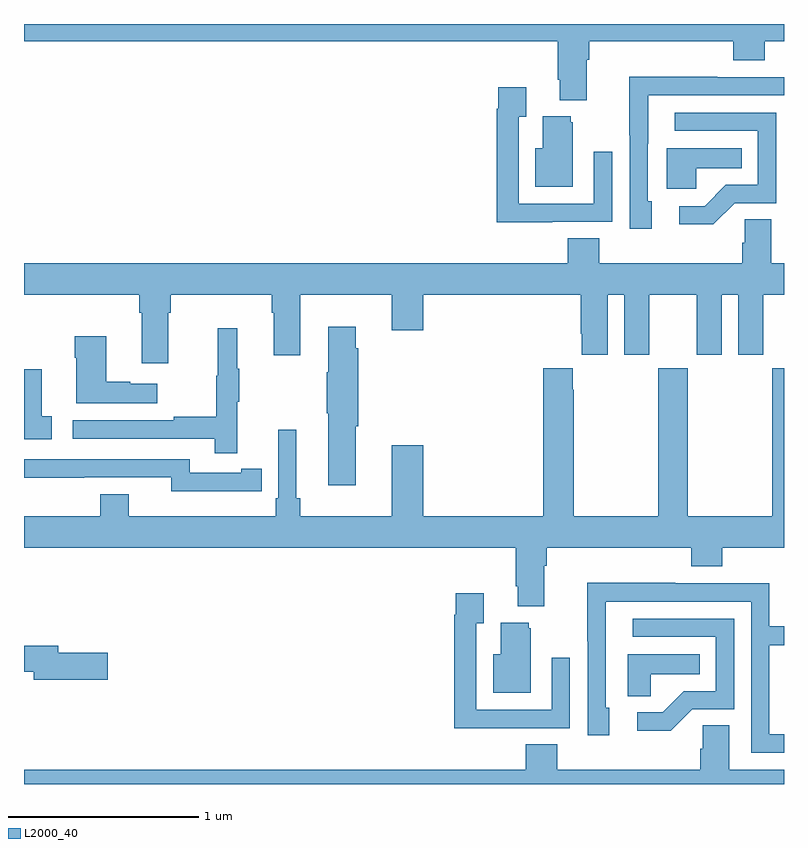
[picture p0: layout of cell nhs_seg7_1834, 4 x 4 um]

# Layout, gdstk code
import gdstk
lib = gdstk.Library(unit=1e-6, precision=1e-09)
def P(c, l, *ps):  # polygons
    for p in ps: c.add(gdstk.Polygon(p, *l))
L2000_40 = (2000, 40)

nhs_seg7_1834 = lib.new_cell('nhs_seg7_1834')
P(nhs_seg7_1834, L2000_40, [(237.961,1041.812),(237.974,1041.812),(237.974,1041.908),(238.733,1041.908),(238.733,1041.809),(238.898,1041.809),(238.898,1041.908),(239,1041.908),(239,1042),(235,1042),(235,1041.908),(237.809,1041.908),(237.809,1041.706),(237.821,1041.706),(237.821,1041.599),(237.961,1041.599)],
  [(238.303,1041.066),(238.284,1041.066),(238.284,1041.37),(238.285,1041.37),(238.285,1041.624),(239,1041.624),(239,1041.72),(238.649,1041.72),(238.649,1041.722),(238.186,1041.722),(238.186,1041.415),(238.188,1041.415),(238.188,1040.922),(238.303,1040.922)],
  [(237.779,1040.958),(238.095,1040.958),(238.095,1041.328),(237.999,1041.328),(237.999,1041.054),(237.603,1041.054),(237.603,1041.511),(237.643,1041.511),(237.643,1041.667),(237.495,1041.667),(237.495,1041.554),(237.487,1041.554),(237.487,1040.957),(237.779,1040.957)],
  [(238.74,1041.057),(238.959,1041.057),(238.959,1041.534),(238.425,1041.534),(238.425,1041.438),(238.863,1041.438),(238.863,1041.153),(238.694,1041.153),(238.583,1041.042),(238.449,1041.042),(238.449,1040.945),(238.627,1040.945)],
  [(237.889,1041.483),(237.878,1041.483),(237.878,1041.514),(237.731,1041.514),(237.731,1041.346),(237.692,1041.346),(237.692,1041.143),(237.889,1041.143)],
  [(238.539,1041.242),(238.778,1041.242),(238.778,1041.346),(238.382,1041.346),(238.382,1041.134),(238.539,1041.134)],
  [(235.759,1040.48),(235.772,1040.48),(235.772,1040.576),(236.303,1040.576),(236.303,1040.48),(236.315,1040.48),(236.315,1040.256),(236.455,1040.256),(236.455,1040.576),(236.936,1040.576),(236.936,1040.388),(237.1,1040.388),(237.1,1040.576),(237.929,1040.576),(237.929,1040.371),(237.935,1040.371),(237.935,1040.259),(238.072,1040.259),(238.072,1040.576),(238.16,1040.576),(238.16,1040.259),(238.291,1040.259),(238.291,1040.576),(238.541,1040.576),(238.541,1040.259),(238.672,1040.259),(238.672,1040.576),(238.76,1040.576),(238.76,1040.259),(238.891,1040.259),(238.891,1040.576),(239,1040.576),(239,1040.74),(238.933,1040.74),(238.933,1040.972),(238.794,1040.972),(238.794,1040.849),(238.781,1040.849),(238.781,1040.74),(238.028,1040.74),(238.028,1040.873),(237.863,1040.873),(237.863,1040.74),(235,1040.74),(235,1040.576),(235.607,1040.576),(235.607,1040.48),(235.619,1040.48),(235.619,1040.214),(235.759,1040.214)],
  [(236.746,1039.884),(236.759,1039.884),(236.759,1040.294),(236.746,1040.294),(236.746,1040.407),(236.6,1040.407),(236.6,1040.168),(236.593,1040.168),(236.593,1039.951),(236.6,1039.951),(236.6,1039.572),(236.746,1039.572)],
  [(236.123,1040.011),(236.134,1040.011),(236.134,1040.185),(236.123,1040.185),(236.123,1040.398),(236.02,1040.398),(236.02,1040.148),(236.013,1040.148),(236.013,1039.934),(235.789,1039.934),(235.789,1039.914),(235.257,1039.914),(235.257,1039.818),(236.005,1039.818),(236.005,1039.74),(236.123,1039.74)],
  [(235.702,1040.107),(235.559,1040.107),(235.559,1040.117),(235.432,1040.117),(235.432,1040.356),(235.267,1040.356),(235.267,1040.243),(235.274,1040.243),(235.274,1040.003),(235.702,1040.003)],
  [(237.739,1039.148),(237.752,1039.148),(237.752,1039.244),(238.511,1039.244),(238.511,1039.145),(238.676,1039.145),(238.676,1039.244),(239,1039.244),(239,1040.188),(238.939,1040.188),(238.939,1039.408),(238.494,1039.408),(238.494,1040.188),(238.339,1040.188),(238.339,1039.408),(237.894,1039.408),(237.894,1040.075),(237.889,1040.075),(237.889,1040.188),(237.734,1040.188),(237.734,1039.408),(237.1,1039.408),(237.1,1039.783),(236.936,1039.783),(236.936,1039.408),(236.453,1039.408),(236.453,1039.504),(236.434,1039.504),(236.434,1039.864),(236.337,1039.864),(236.337,1039.504),(236.324,1039.504),(236.324,1039.408),(235.552,1039.408),(235.552,1039.525),(235.4,1039.525),(235.4,1039.408),(235,1039.408),(235,1039.244),(237.587,1039.244),(237.587,1039.042),(237.599,1039.042),(237.599,1038.935),(237.739,1038.935)],
  [(235.147,1039.935),(235.094,1039.935),(235.094,1040.182),(235,1040.182),(235,1039.815),(235.147,1039.815)],
  [(236.144,1039.542),(236.252,1039.542),(236.252,1039.658),(236.144,1039.658),(236.144,1039.638),(235.872,1039.638),(235.872,1039.71),(235,1039.71),(235,1039.613),(235.316,1039.613),(235.316,1039.614),(235.776,1039.614),(235.776,1039.541),(236.144,1039.541)],
  [(239,1038.261),(238.923,1038.261),(238.923,1038.73),(239,1038.73),(239,1038.831),(238.923,1038.831),(238.923,1039.056),(238.427,1039.056),(238.427,1039.058),(237.964,1039.058),(237.964,1038.751),(237.966,1038.751),(237.966,1038.257),(238.081,1038.257),(238.081,1038.402),(238.062,1038.402),(238.062,1038.96),(238.827,1038.96),(238.827,1038.165),(239,1038.165)],
  [(237.557,1038.294),(237.873,1038.294),(237.873,1038.664),(237.777,1038.664),(237.777,1038.39),(237.381,1038.39),(237.381,1038.847),(237.421,1038.847),(237.421,1039.003),(237.273,1039.003),(237.273,1038.89),(237.265,1038.89),(237.265,1038.293),(237.557,1038.293)],
  [(238.518,1038.393),(238.737,1038.393),(238.737,1038.87),(238.203,1038.87),(238.203,1038.774),(238.641,1038.774),(238.641,1038.489),(238.472,1038.489),(238.361,1038.378),(238.227,1038.378),(238.227,1038.281),(238.405,1038.281)],
  [(237.667,1038.819),(237.656,1038.819),(237.656,1038.85),(237.509,1038.85),(237.509,1038.682),(237.47,1038.682),(237.47,1038.479),(237.667,1038.479)],
  [(235.441,1038.692),(235.18,1038.692),(235.18,1038.728),(235,1038.728),(235,1038.592),(235.052,1038.592),(235.052,1038.55),(235.441,1038.55)],
  [(238.299,1038.578),(238.556,1038.578),(238.556,1038.682),(238.178,1038.682),(238.178,1038.463),(238.299,1038.463)],
  [(239,1038.076),(238.711,1038.076),(238.711,1038.308),(238.572,1038.308),(238.572,1038.185),(238.559,1038.185),(238.559,1038.076),(237.806,1038.076),(237.806,1038.209),(237.641,1038.209),(237.641,1038.076),(235,1038.076),(235,1038),(239,1038)])

lib.write_gds('nhs_seg7_1834.gds')
